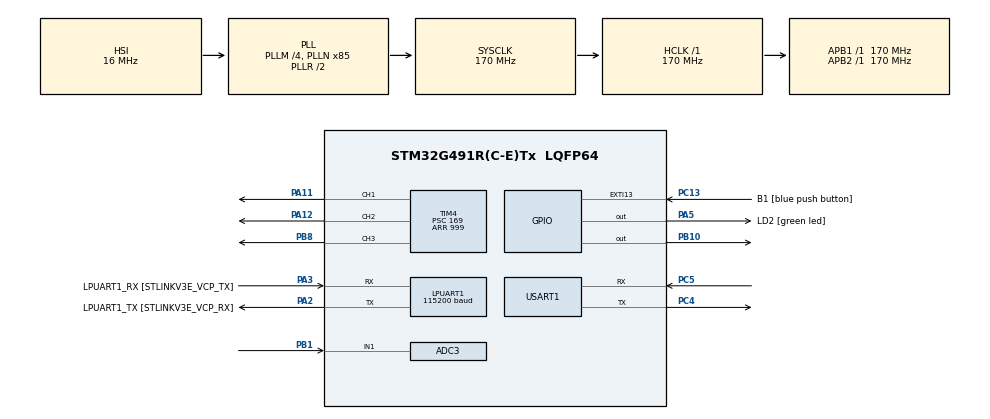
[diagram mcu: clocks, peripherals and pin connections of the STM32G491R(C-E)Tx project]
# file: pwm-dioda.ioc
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ADC3.Channel-0\#ChannelRegularConversion=ADC_CHANNEL_1
ADC3.ContinuousConvMode=ENABLE
ADC3.EnableAnalogWatchDog1=true
ADC3.EnableAnalogWatchDog2=false
ADC3.EnableAnalogWatchDog3=false
ADC3.NbrOfConversionFlag=1
ADC3.OffsetNumber-0\#ChannelRegularConversion=ADC_OFFSET_NONE
ADC3.Overrun=ADC_OVR_DATA_OVERWRITTEN
ADC3.Rank-0\#ChannelRegularConversion=1
ADC3.SamplingTime-0\#ChannelRegularConversion=ADC_SAMPLETIME_640CYCLES_5
ADC3.WatchdogChannel=ADC_CHANNEL_1
ADC3.master=1
LPUART1.BaudRate=115200
LPUART1.WordLength=UART_WORDLENGTH_8B
Mcu.Family=STM32G4
Mcu.Name=STM32G491R(C-E)Tx
Mcu.Package=LQFP64
NVIC.EXTI15_10_IRQn=true\:0\:0\:false\:false\:true\:true\:true\:true
NVIC.PriorityGroup=NVIC_PRIORITYGROUP_4
NVIC.TIM6_DAC_IRQn=true\:0\:0\:false\:false\:true\:true\:true\:true
PA11.Signal=S_TIM4_CH1
PA12.Signal=S_TIM4_CH2
PA13.GPIO_Label=T_SWDIO
PA13.Mode=Serial_Wire
PA13.Signal=SYS_JTMS-SWDIO
PA14.GPIO_Label=T_SWCLK
PA14.Mode=Serial_Wire
PA14.Signal=SYS_JTCK-SWCLK
PA2.GPIO_Label=LPUART1_TX [STLINKV3E_VCP_RX]
PA2.Mode=Asynchronous
PA2.Signal=LPUART1_TX
PA3.GPIO_Label=LPUART1_RX [STLINKV3E_VCP_TX]
PA3.Mode=Asynchronous
PA3.Signal=LPUART1_RX
PA5.GPIO_Label=LD2 [green led]
PA5.Signal=GPIO_Output
PB1.Mode=IN1-Single-Ended
PB1.Signal=ADC3_IN1
PB10.Signal=GPIO_Output
PB3.GPIO_Label=T_SWO
PB3.Signal=SYS_JTDO-SWO
PB8-BOOT0.Signal=S_TIM4_CH3
PC13.GPIO_Label=B1 [blue push button]
PC13.Signal=GPXTI13
PC14-OSC32_IN.Mode=LSE-External-Oscillator
PC14-OSC32_IN.Signal=RCC_OSC32_IN
PC15-OSC32_OUT.Mode=LSE-External-Oscillator
PC15-OSC32_OUT.Signal=RCC_OSC32_OUT
PC4.Mode=Asynchronous
PC4.Signal=USART1_TX
PC5.Mode=Asynchronous
PC5.Signal=USART1_RX
PF0-OSC_IN.Mode=HSE-External-Oscillator
PF0-OSC_IN.Signal=RCC_OSC_IN
PF1-OSC_OUT.Mode=HSE-External-Oscillator
PF1-OSC_OUT.Signal=RCC_OSC_OUT
ProjectManager.HeapSize=0x200
ProjectManager.StackSize=0x400
ProjectManager.TargetToolchain=STM32CubeIDE
RCC.ADC12Freq_Value=170000000
RCC.ADC345Freq_Value=170000000
RCC.AHBFreq_Value=170000000
RCC.APB1Freq_Value=170000000
RCC.APB1TimFreq_Value=170000000
RCC.APB2Freq_Value=170000000
RCC.APB2TimFreq_Value=170000000
RCC.CortexFreq_Value=170000000
RCC.EXTERNAL_CLOCK_VALUE=12288000
RCC.HCLKFreq_Value=170000000
RCC.HSE_VALUE=24000000
RCC.HSI48_VALUE=48000000
RCC.HSI_VALUE=16000000
RCC.PLLM=RCC_PLLM_DIV4
RCC.PLLN=85
RCC.RTCClockSelection=RCC_RTCCLKSOURCE_LSE
RCC.SYSCLKFreq_VALUE=170000000
RCC.SYSCLKSource=RCC_SYSCLKSOURCE_PLLCLK
RCC.USBFreq_Value=48000000
RCC.VCOOutputFreq_Value=340000000
SH.S_TIM4_CH1.0=TIM4_CH1,PWM Generation1 CH1
SH.S_TIM4_CH2.0=TIM4_CH2,PWM Generation2 CH2
SH.S_TIM4_CH3.0=TIM4_CH3,PWM Generation3 CH3
TIM4.Channel-PWM\ Generation1\ CH1=TIM_CHANNEL_1
TIM4.Channel-PWM\ Generation2\ CH2=TIM_CHANNEL_2
TIM4.Channel-PWM\ Generation3\ CH3=TIM_CHANNEL_3
TIM4.PeriodNoDither=999
TIM4.Prescaler=169
TIM6.PeriodNoDither=9999
TIM6.Prescaler=16999
USART1.VirtualMode-Asynchronous=VM_ASYNC
VP_SYS_VS_DBSignals.Mode=DisableDeadBatterySignals
VP_TIM4_VS_ClockSourceINT.Mode=Internal
VP_TIM6_VS_ClockSourceINT.Mode=Enable_Timer
board=NUCLEO-G491RE

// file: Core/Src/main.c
/* USER CODE BEGIN Header */
/**
  ******************************************************************************
  * @file           : main.c
  * @brief          : Main program body
  ******************************************************************************
  * @attention
  *
  * Copyright (c) 2023 STMicroelectronics.
  * All rights reserved.
  *
  * This software is licensed under terms that can be found in the LICENSE file
  * in the root directory of this software component.
  * If no LICENSE file comes with this software, it is provided AS-IS.
  *
  ******************************************************************************
  */
/* USER CODE END Header */
#include "main.h"

/* USER CODE BEGIN Includes */
#include <stdio.h>
#include <string.h>
/* USER CODE END Includes */

ADC_HandleTypeDef hadc3;

UART_HandleTypeDef hlpuart1;
UART_HandleTypeDef huart1;

TIM_HandleTypeDef htim4;
TIM_HandleTypeDef htim6;

/* USER CODE BEGIN PV */
volatile uint32_t value;
volatile uint8_t led;
char msg[20];
/* USER CODE END PV */

void SystemClock_Config(void);
static void MX_GPIO_Init(void);
static void MX_LPUART1_UART_Init(void);
static void MX_TIM4_Init(void);
static void MX_ADC3_Init(void);
static void MX_TIM6_Init(void);
static void MX_USART1_UART_Init(void);
/* USER CODE BEGIN PFP */
void HAL_TIM_PeriodElapsedCallback(TIM_HandleTypeDef *htim)
{
	if (htim->Instance == TIM6)
	{
		  HAL_ADC_PollForConversion(&hadc3, 100);
		  value = HAL_ADC_GetValue(&hadc3);
		  __HAL_TIM_SET_COMPARE(&htim4, TIM_CHANNEL_1, value);
		__HAL_TIM_SET_COMPARE(&htim4, TIM_CHANNEL_2, led);
//		led = led+100;
//		if (led > 1000)
//		{
//			led = 100;
//		}
	}
}
/* USER CODE END PFP */

int main(void)
{

  /* MCU Configuration--------------------------------------------------------*/

  /* Reset of all peripherals, Initializes the Flash interface and the Systick. */
  HAL_Init();

  /* Configure the system clock */
  SystemClock_Config();

  /* Initialize all configured peripherals */
  MX_GPIO_Init();
  MX_LPUART1_UART_Init();
  MX_TIM4_Init();
  MX_ADC3_Init();
  MX_TIM6_Init();
  MX_USART1_UART_Init();
  /* USER CODE BEGIN 2 */
  HAL_TIM_PWM_Start(&htim4, TIM_CHANNEL_1);//niebieski
  HAL_TIM_PWM_Start(&htim4, TIM_CHANNEL_2);//zielony
  HAL_TIM_PWM_Start(&htim4, TIM_CHANNEL_3);//czerwony

//  HAL_TIM_Base_Start_IT(&htim6);
  HAL_ADC_Start(&hadc3);
  /* USER CODE END 2 */

  /* Infinite loop */
  /* USER CODE BEGIN WHILE */
  while (1)
  {

	  HAL_ADC_PollForConversion(&hadc3, 20);
	  value = HAL_ADC_GetValue(&hadc3);
	  HAL_UART_Transmit(&huart1, (uint8_t *)msg, strlen(msg), HAL_MAX_DELAY);
	  printf("value %lu", value);
	  sprintf(msg, "Value: &lu \r \n", value);

	  HAL_Delay(500);
	  __HAL_TIM_SET_COMPARE(&htim4, TIM_CHANNEL_1, value);
    /* USER CODE END WHILE */

  }
}

void SystemClock_Config(void)
{
  RCC_OscInitTypeDef RCC_OscInitStruct = {0};
  RCC_ClkInitTypeDef RCC_ClkInitStruct = {0};

  /** Configure the main internal regulator output voltage
  */
  HAL_PWREx_ControlVoltageScaling(PWR_REGULATOR_VOLTAGE_SCALE1_BOOST);

  /** Initializes the RCC Oscillators according to the specified parameters
  * in the RCC_OscInitTypeDef structure.
  */
  RCC_OscInitStruct.OscillatorType = RCC_OSCILLATORTYPE_HSI;
  RCC_OscInitStruct.HSIState = RCC_HSI_ON;
  RCC_OscInitStruct.HSICalibrationValue = RCC_HSICALIBRATION_DEFAULT;
  RCC_OscInitStruct.PLL.PLLState = RCC_PLL_ON;
  RCC_OscInitStruct.PLL.PLLSource = RCC_PLLSOURCE_HSI;
  RCC_OscInitStruct.PLL.PLLM = RCC_PLLM_DIV4;
  RCC_OscInitStruct.PLL.PLLN = 85;
  RCC_OscInitStruct.PLL.PLLP = RCC_PLLP_DIV2;
  RCC_OscInitStruct.PLL.PLLQ = RCC_PLLQ_DIV2;
  RCC_OscInitStruct.PLL.PLLR = RCC_PLLR_DIV2;
  if (HAL_RCC_OscConfig(&RCC_OscInitStruct) != HAL_OK)
  {
    Error_Handler();
  }

  /** Initializes the CPU, AHB and APB buses clocks
  */
  RCC_ClkInitStruct.ClockType = RCC_CLOCKTYPE_HCLK|RCC_CLOCKTYPE_SYSCLK
                              |RCC_CLOCKTYPE_PCLK1|RCC_CLOCKTYPE_PCLK2;
  RCC_ClkInitStruct.SYSCLKSource = RCC_SYSCLKSOURCE_PLLCLK;
  RCC_ClkInitStruct.AHBCLKDivider = RCC_SYSCLK_DIV1;
  RCC_ClkInitStruct.APB1CLKDivider = RCC_HCLK_DIV1;
  RCC_ClkInitStruct.APB2CLKDivider = RCC_HCLK_DIV1;

  if (HAL_RCC_ClockConfig(&RCC_ClkInitStruct, FLASH_LATENCY_4) != HAL_OK)
  {
    Error_Handler();
  }
}

static void MX_ADC3_Init(void)
{

  ADC_AnalogWDGConfTypeDef AnalogWDGConfig = {0};
  ADC_ChannelConfTypeDef sConfig = {0};

  /** Common config
  */
  hadc3.Instance = ADC3;
  hadc3.Init.ClockPrescaler = ADC_CLOCK_SYNC_PCLK_DIV4;
  hadc3.Init.Resolution = ADC_RESOLUTION_12B;
  hadc3.Init.DataAlign = ADC_DATAALIGN_RIGHT;
  hadc3.Init.GainCompensation = 0;
  hadc3.Init.ScanConvMode = ADC_SCAN_DISABLE;
  hadc3.Init.EOCSelection = ADC_EOC_SINGLE_CONV;
  hadc3.Init.LowPowerAutoWait = DISABLE;
  hadc3.Init.ContinuousConvMode = ENABLE;
  hadc3.Init.NbrOfConversion = 1;
  hadc3.Init.DiscontinuousConvMode = DISABLE;
  hadc3.Init.ExternalTrigConv = ADC_SOFTWARE_START;
  hadc3.Init.ExternalTrigConvEdge = ADC_EXTERNALTRIGCONVEDGE_NONE;
  hadc3.Init.DMAContinuousRequests = DISABLE;
  hadc3.Init.Overrun = ADC_OVR_DATA_OVERWRITTEN;
  hadc3.Init.OversamplingMode = DISABLE;
  if (HAL_ADC_Init(&hadc3) != HAL_OK)
  {
    Error_Handler();
  }

  /** Configure Analog WatchDog 1
  */
  AnalogWDGConfig.WatchdogNumber = ADC_ANALOGWATCHDOG_1;
  AnalogWDGConfig.WatchdogMode = ADC_ANALOGWATCHDOG_SINGLE_REG;
  AnalogWDGConfig.Channel = ADC_CHANNEL_1;
  AnalogWDGConfig.ITMode = DISABLE;
  AnalogWDGConfig.HighThreshold = 0;
  AnalogWDGConfig.LowThreshold = 0;
  AnalogWDGConfig.FilteringConfig = ADC_AWD_FILTERING_NONE;
  if (HAL_ADC_AnalogWDGConfig(&hadc3, &AnalogWDGConfig) != HAL_OK)
  {
    Error_Handler();
  }

  /** Configure Regular Channel
  */
  sConfig.Channel = ADC_CHANNEL_1;
  sConfig.Rank = ADC_REGULAR_RANK_1;
  sConfig.SamplingTime = ADC_SAMPLETIME_640CYCLES_5;
  sConfig.SingleDiff = ADC_SINGLE_ENDED;
  sConfig.OffsetNumber = ADC_OFFSET_NONE;
  sConfig.Offset = 0;
  if (HAL_ADC_ConfigChannel(&hadc3, &sConfig) != HAL_OK)
  {
    Error_Handler();
  }

}

static void MX_LPUART1_UART_Init(void)
{

  hlpuart1.Instance = LPUART1;
  hlpuart1.Init.BaudRate = 115200;
  hlpuart1.Init.WordLength = UART_WORDLENGTH_8B;
  hlpuart1.Init.StopBits = UART_STOPBITS_1;
  hlpuart1.Init.Parity = UART_PARITY_NONE;
  hlpuart1.Init.Mode = UART_MODE_TX_RX;
  hlpuart1.Init.HwFlowCtl = UART_HWCONTROL_NONE;
  hlpuart1.Init.OneBitSampling = UART_ONE_BIT_SAMPLE_DISABLE;
  hlpuart1.Init.ClockPrescaler = UART_PRESCALER_DIV1;
  hlpuart1.AdvancedInit.AdvFeatureInit = UART_ADVFEATURE_NO_INIT;
  if (HAL_UART_Init(&hlpuart1) != HAL_OK)
  {
    Error_Handler();
  }
  if (HAL_UARTEx_SetTxFifoThreshold(&hlpuart1, UART_TXFIFO_THRESHOLD_1_8) != HAL_OK)
  {
    Error_Handler();
  }
  if (HAL_UARTEx_SetRxFifoThreshold(&hlpuart1, UART_RXFIFO_THRESHOLD_1_8) != HAL_OK)
  {
    Error_Handler();
  }
  if (HAL_UARTEx_DisableFifoMode(&hlpuart1) != HAL_OK)
  {
    Error_Handler();
  }

}

static void MX_USART1_UART_Init(void)
{

  huart1.Instance = USART1;
  huart1.Init.BaudRate = 115200;
  huart1.Init.WordLength = UART_WORDLENGTH_8B;
  huart1.Init.StopBits = UART_STOPBITS_1;
  huart1.Init.Parity = UART_PARITY_NONE;
  huart1.Init.Mode = UART_MODE_TX_RX;
  huart1.Init.HwFlowCtl = UART_HWCONTROL_NONE;
  huart1.Init.OverSampling = UART_OVERSAMPLING_16;
  huart1.Init.OneBitSampling = UART_ONE_BIT_SAMPLE_DISABLE;
  huart1.Init.ClockPrescaler = UART_PRESCALER_DIV1;
  huart1.AdvancedInit.AdvFeatureInit = UART_ADVFEATURE_NO_INIT;
  if (HAL_UART_Init(&huart1) != HAL_OK)
  {
    Error_Handler();
  }
  if (HAL_UARTEx_SetTxFifoThreshold(&huart1, UART_TXFIFO_THRESHOLD_1_8) != HAL_OK)
  {
    Error_Handler();
  }
  if (HAL_UARTEx_SetRxFifoThreshold(&huart1, UART_RXFIFO_THRESHOLD_1_8) != HAL_OK)
  {
    Error_Handler();
  }
  if (HAL_UARTEx_DisableFifoMode(&huart1) != HAL_OK)
  {
    Error_Handler();
  }

}

static void MX_TIM4_Init(void)
{

  TIM_ClockConfigTypeDef sClockSourceConfig = {0};
  TIM_MasterConfigTypeDef sMasterConfig = {0};
  TIM_OC_InitTypeDef sConfigOC = {0};

  htim4.Instance = TIM4;
  htim4.Init.Prescaler = 169;
  htim4.Init.CounterMode = TIM_COUNTERMODE_UP;
  htim4.Init.Period = 999;
  htim4.Init.ClockDivision = TIM_CLOCKDIVISION_DIV1;
  htim4.Init.AutoReloadPreload = TIM_AUTORELOAD_PRELOAD_DISABLE;
  if (HAL_TIM_Base_Init(&htim4) != HAL_OK)
  {
    Error_Handler();
  }
  sClockSourceConfig.ClockSource = TIM_CLOCKSOURCE_INTERNAL;
  if (HAL_TIM_ConfigClockSource(&htim4, &sClockSourceConfig) != HAL_OK)
  {
    Error_Handler();
  }
  if (HAL_TIM_PWM_Init(&htim4) != HAL_OK)
  {
    Error_Handler();
  }
  sMasterConfig.MasterOutputTrigger = TIM_TRGO_RESET;
  sMasterConfig.MasterSlaveMode = TIM_MASTERSLAVEMODE_DISABLE;
  if (HAL_TIMEx_MasterConfigSynchronization(&htim4, &sMasterConfig) != HAL_OK)
  {
    Error_Handler();
  }
  sConfigOC.OCMode = TIM_OCMODE_PWM1;
  sConfigOC.Pulse = 0;
  sConfigOC.OCPolarity = TIM_OCPOLARITY_HIGH;
  sConfigOC.OCFastMode = TIM_OCFAST_DISABLE;
  if (HAL_TIM_PWM_ConfigChannel(&htim4, &sConfigOC, TIM_CHANNEL_1) != HAL_OK)
  {
    Error_Handler();
  }
  if (HAL_TIM_PWM_ConfigChannel(&htim4, &sConfigOC, TIM_CHANNEL_2) != HAL_OK)
  {
    Error_Handler();
  }
  if (HAL_TIM_PWM_ConfigChannel(&htim4, &sConfigOC, TIM_CHANNEL_3) != HAL_OK)
  {
    Error_Handler();
  }
  HAL_TIM_MspPostInit(&htim4);

}

static void MX_TIM6_Init(void)
{

  TIM_MasterConfigTypeDef sMasterConfig = {0};

  htim6.Instance = TIM6;
  htim6.Init.Prescaler = 16999;
  htim6.Init.CounterMode = TIM_COUNTERMODE_UP;
  htim6.Init.Period = 9999;
  htim6.Init.AutoReloadPreload = TIM_AUTORELOAD_PRELOAD_DISABLE;
  if (HAL_TIM_Base_Init(&htim6) != HAL_OK)
  {
    Error_Handler();
  }
  sMasterConfig.MasterOutputTrigger = TIM_TRGO_RESET;
  sMasterConfig.MasterSlaveMode = TIM_MASTERSLAVEMODE_DISABLE;
  if (HAL_TIMEx_MasterConfigSynchronization(&htim6, &sMasterConfig) != HAL_OK)
  {
    Error_Handler();
  }

}

static void MX_GPIO_Init(void)
{
  GPIO_InitTypeDef GPIO_InitStruct = {0};

  /* GPIO Ports Clock Enable */
  __HAL_RCC_GPIOC_CLK_ENABLE();
  __HAL_RCC_GPIOF_CLK_ENABLE();
  __HAL_RCC_GPIOA_CLK_ENABLE();
  __HAL_RCC_GPIOB_CLK_ENABLE();

  /*Configure GPIO pin Output Level */
  HAL_GPIO_WritePin(LD2_GPIO_Port, LD2_Pin, GPIO_PIN_RESET);

  /*Configure GPIO pin Output Level */
  HAL_GPIO_WritePin(GPIOB, GPIO_PIN_10, GPIO_PIN_RESET);

  /*Configure GPIO pin : B1_Pin */
  GPIO_InitStruct.Pin = B1_Pin;
  GPIO_InitStruct.Mode = GPIO_MODE_IT_RISING;
  GPIO_InitStruct.Pull = GPIO_NOPULL;
  HAL_GPIO_Init(B1_GPIO_Port, &GPIO_InitStruct);

  /*Configure GPIO pin : LD2_Pin */
  GPIO_InitStruct.Pin = LD2_Pin;
  GPIO_InitStruct.Mode = GPIO_MODE_OUTPUT_PP;
  GPIO_InitStruct.Pull = GPIO_NOPULL;
  GPIO_InitStruct.Speed = GPIO_SPEED_FREQ_LOW;
  HAL_GPIO_Init(LD2_GPIO_Port, &GPIO_InitStruct);

  /*Configure GPIO pin : PB10 */
  GPIO_InitStruct.Pin = GPIO_PIN_10;
  GPIO_InitStruct.Mode = GPIO_MODE_OUTPUT_PP;
  GPIO_InitStruct.Pull = GPIO_NOPULL;
  GPIO_InitStruct.Speed = GPIO_SPEED_FREQ_LOW;
  HAL_GPIO_Init(GPIOB, &GPIO_InitStruct);

  /* EXTI interrupt init*/
  HAL_NVIC_SetPriority(EXTI15_10_IRQn, 0, 0);
  HAL_NVIC_EnableIRQ(EXTI15_10_IRQn);

}

void Error_Handler(void)
{
  __disable_irq();
  while (1)
  {
  }
}
